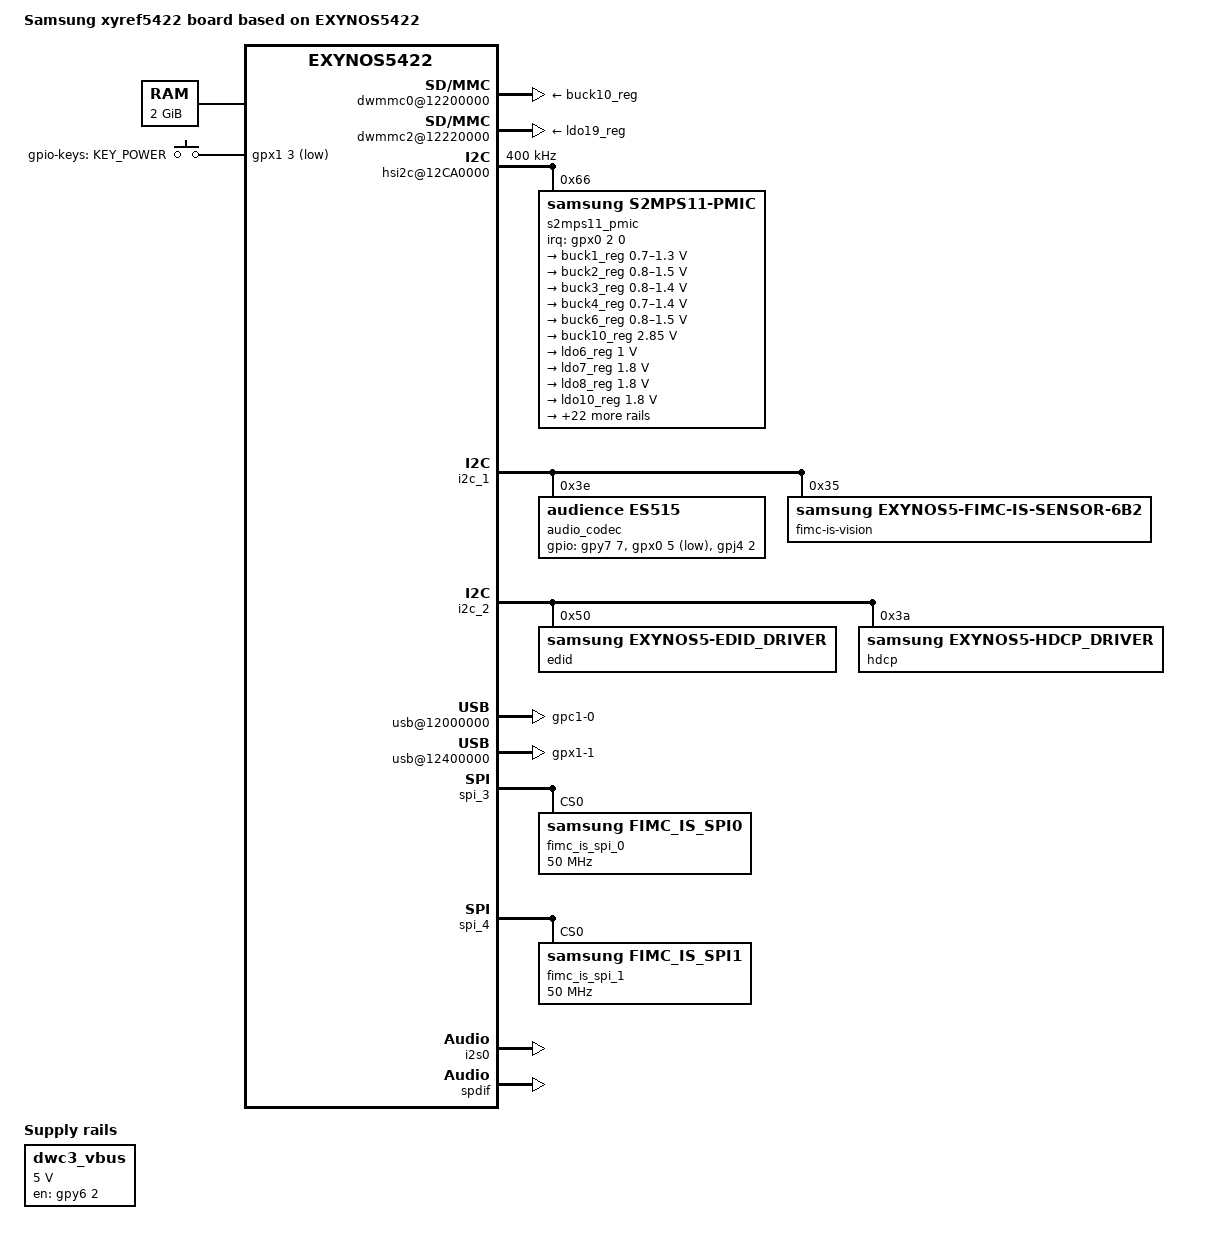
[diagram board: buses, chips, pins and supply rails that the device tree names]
/*
 * SAMSUNG xyref5422 board device tree source
 *
 * Copyright (c) 2013 Samsung Electronics Co., Ltd.
 *             http://www.samsung.com
 *
 * This program is free software; you can redistribute it and/or modify
 * it under the terms of the GNU General Public License version 2 as
 * published by the Free Software Foundation.
*/

/dts-v1/;
#include "exynos5422_evt0.dtsi"

/ {
	model = "Samsung xyref5422 board based on EXYNOS5422";
	compatible = "samsung,xyref5422", "samsung,exynos5422";

	memory {
		reg = <0x40000000 0x80000000>;
	};

	chosen {
		bootargs = "console=ttySAC2,115200 vmalloc=512M ess_setup=0x46000000";
	};

	fixed-rate-clocks {
		oscclk {
			compatible = "samsung,exynos5422-oscclk";
			clock-frequency = <24000000>;
		};
	};

	rtc {
		status = "okay";
	};

	dwmmc0@12200000 {
		status = "okay";
		num-slots = <1>;
		broken-cd;
		bypass-smu;
		fixed_volt;
		only_once_tune;
		extra_tuning;
		supports-highspeed;
		supports-hs200-1-8v-mode;
		supports-ddr200-1-8v-mode;
		enable-cache-control;
		sw_data_timeout;
		fifo-depth = <0x40>;
		card-detect-delay = <200>;
		qos_int_level = <222000>;
		samsung,dw-mshc-ciu-div = <3>;
		samsung,dw-mshc-sdr-timing = <0 4 3>;
		samsung,dw-mshc-ddr-timing = <0 2 3>;
		samsung,dw-mshc-hs200-timing = <0 2 3>;
		samsung,dw-mshc-ddr200-timing = <0 2 1>;
		vmmc-supply = <&buck10_reg>;
		vqmmc-supply = <&ldo18_reg>;
		clk_pin = "gpc0-0";
		clk_addr = "13410000.pinctrl";
		clk_val = <0x3>;
		clk_str_num = <4>;
		num-ref-clks = <8>;
		ciu_clkin = <20812500 41625000 41625000 83250000 166500000 83250000 166500000 333000000>;
		pinctrl-names = "default";
		pinctrl-0 = <&sd0_clk &sd0_cmd &sd0_rdqs &sd0_bus1 &sd0_bus4 &sd0_bus8>;

		slot@0 {
			reg = <0>;
			bus-width = <8>;
		};
	};

	dwmmc2@12220000 {
		status = "okay";
		num-slots = <1>;
		supports-highspeed;
		cd-type = <1>;
		sw_data_timeout;
		fifo-depth = <0x40>;
		card-detect-delay = <200>;
		qos_int_level = <222000>;
		samsung,dw-mshc-ciu-div = <3>;
		samsung,dw-mshc-sdr-timing = <0 4 3>;
		samsung,dw-mshc-ddr-timing = <0 2 3>;
		vmmc-supply = <&ldo19_reg>;
		vqmmc-supply = <&ldo13_reg>;
		clk_pin = "gpc2-0";
		clk_addr = "13410000.pinctrl";
		clk_val = <0x3>;
		clk_str_num = <4>;
		num-ref-clks = <8>;
		ciu_clkin = <20812500 41625000 41625000 83250000 166500000 83250000 166500000 333000000>;
		pinctrl-names = "default";
		pinctrl-0 = <&sd2_clk &sd2_cmd &sd2_cd &sd2_bus1 &sd2_bus4>;

		slot@0 {
			reg = <0>;
			bus-width = <4>;
			disable-wp;
		};

	};

	pinctrl@13400000 {
		pmic_irq: pmic-irq {
			samsung,pins = "gpx0-3";
			samsung,pin-pud = <3>;
			samsung,pin-drv = <3>;
		};
	};

	pinctrl@13410000 {
		pm_wrsti: pm-wrsti {
			samsung,pins = "gpy3-0";
			samsung,pin-con-pdn = <3>;
		};
	};

	hsi2c@12CC0000 {
		clock-frequency = <100000>;
		status = "disabled";
	};

	hsi2c@12CA0000 {
		samsung,hs-mode;
		clock-frequency = <400000>;
		status = "okay";

		s2mps11_pmic@66 {
			compatible = "samsung,s2mps11-pmic";
			reg = <0x66>;
			interrupts = <2 0 0>;
			interrupt-parent = <&gpx0>;
			pinctrl-names = "default";
			pinctrl-0 = <&pmic_irq &pm_wrsti>;
			wtsr_smpl = <1>;

			regulators {
				buck1_reg: BUCK1 {
					regulator-name = "vdd_mif";
					regulator-min-microvolt = <700000>;
					regulator-max-microvolt = <1300000>;
					regulator-always-on;
					regulator-boot-on;
					regulator-ramp-delay = <12000>;
					regulator-initial-mode = <1>;
				};

				buck2_reg: BUCK2 {
					regulator-name = "vdd_eagle";
					regulator-min-microvolt = <800000>;
					regulator-max-microvolt = <1500000>;
					regulator-always-on;
					regulator-boot-on;
					regulator-ramp-delay = <12000>;
					regulator-initial-mode = <1>;
				};

				buck3_reg: BUCK3 {
					regulator-name = "vdd_int";
					regulator-min-microvolt = <800000>;
					regulator-max-microvolt = <1400000>;
					regulator-always-on;
					regulator-boot-on;
					regulator-ramp-delay = <12000>;
					regulator-initial-mode = <1>;
				};

				buck4_reg: BUCK4 {
					regulator-name = "vdd_g3d";
					regulator-min-microvolt = <700000>;
					regulator-max-microvolt = <1400000>;
					regulator-always-on;
					regulator-boot-on;
					regulator-ramp-delay = <12000>;
					regulator-initial-mode = <1>;
				};

				buck6_reg: BUCK6 {
					regulator-name = "vdd_kfc";
					regulator-min-microvolt = <800000>;
					regulator-max-microvolt = <1500000>;
					regulator-always-on;
					regulator-boot-on;
					regulator-ramp-delay = <12000>;
					regulator-initial-mode = <1>;
				};

				buck10_reg: BUCK10 {
					regulator-name = "vdd_cam_isp_1.0v";
					regulator-min-microvolt = <2850000>;
					regulator-max-microvolt = <2850000>;
					regulator-always-on;
					regulator-boot-on;
					regulator-ramp-delay = <12000>;
					regulator-initial-mode = <1>;
				};

				ldo6_reg: LDO6 {
					regulator-name = "vdd_ldo6";
					regulator-min-microvolt = <1000000>;
					regulator-max-microvolt = <1000000>;
					regulator-always-on;
					regulator-initial-mode = <1>;
				};

				ldo7_reg: LDO7 {
					regulator-name = "vdd_ldo7";
					regulator-min-microvolt = <1800000>;
					regulator-max-microvolt = <1800000>;
					regulator-always-on;
					regulator-boot-on;
					regulator-initial-mode = <1>;
				};

				ldo8_reg: LDO8 {
					regulator-name = "vdd_ldo8";
					regulator-min-microvolt = <1800000>;
					regulator-max-microvolt = <1800000>;
					regulator-always-on;
					regulator-boot-on;
					regulator-initial-mode = <1>;
				};

				ldo10_reg: LDO10 {
					regulator-name = "vdd_ldo10";
					regulator-min-microvolt = <1800000>;
					regulator-max-microvolt = <1800000>;
					regulator-always-on;
					regulator-boot-on;
					regulator-initial-mode = <1>;
				};

				ldo13_reg: LDO13 {
					regulator-name = "vdd_ldo13";
					regulator-min-microvolt = <1800000>;
					regulator-max-microvolt = <3300000>;
					regulator-boot-on;
					regulator-ramp-delay = <12000>;
					regulator-initial-mode = <1>;
				};

				ldo15_reg: LDO15 {
					regulator-name = "vdd_ldo15";
					regulator-min-microvolt = <1800000>;
					regulator-max-microvolt = <2850000>;
					regulator-always-on;
					regulator-initial-mode = <1>;
				};

				ldo16_reg: LDO16 {
					regulator-name = "vdd_ldo16";
					regulator-min-microvolt = <2200000>;
					regulator-max-microvolt = <2200000>;
					regulator-always-on;
					regulator-initial-mode = <1>;
				};

				ldo17_reg: LDO17 {
					regulator-name = "tsp_avdd";
					regulator-min-microvolt = <3300000>;
					regulator-max-microvolt = <3300000>;
				};

				ldo18_reg: LDO18 {
					regulator-name = "vdd_ldo18";
					regulator-min-microvolt = <1800000>;
					regulator-max-microvolt = <3300000>;
					regulator-always-on;
					regulator-boot-on;
					regulator-initial-mode = <1>;
				};

				ldo19_reg: LDO19 {
					regulator-name = "vdd_ldo19";
					regulator-min-microvolt = <1800000>;
					regulator-max-microvolt = <2850000>;
					regulator-always-on;
					regulator-initial-mode = <1>;
				};

				ldo20_reg: LDO20 {
					regulator-name = "vdd_ldo20";
					regulator-min-microvolt = <1800000>;
					regulator-max-microvolt = <1800000>;
					regulator-always-on;
					regulator-initial-mode = <3>;
				};

				ldo21_reg: LDO21 {
					regulator-name = "vdd_ldo21";
					regulator-min-microvolt = <1800000>;
					regulator-max-microvolt = <1800000>;
					regulator-always-on;
					regulator-initial-mode = <3>;
				};

				ldo22_reg: LDO22 {
					regulator-name = "vdd_ldo22";
					regulator-min-microvolt = <800000>;
					regulator-max-microvolt = <1350000>;
					regulator-always-on;
					regulator-initial-mode = <3>;
				};

				ldo23_reg: LDO23 {
					regulator-name = "vdd_mifs";
					regulator-min-microvolt = <800000>;
					regulator-max-microvolt = <1100000>;
					regulator-always-on;
					regulator-initial-mode = <1>;
					regulator-ramp-delay = <12000>;
				};

				ldo24_reg: LDO24 {
					regulator-name = "vdd_ldo24";
					regulator-min-microvolt = <2800000>;
					regulator-max-microvolt = <2800000>;
					regulator-always-on;
					regulator-initial-mode = <1>;
				};

				ldo25_reg: LDO25 {
					regulator-name = "vdd_ldo25";
					regulator-min-microvolt = <1800000>;
					regulator-max-microvolt = <1800000>;
					regulator-always-on;
					regulator-initial-mode = <1>;
				};

				ldo26_reg: LDO26 {
					regulator-name = "vdd_ldo26";
					regulator-min-microvolt = <3000000>;
					regulator-max-microvolt = <3000000>;
					regulator-always-on;
					regulator-initial-mode = <1>;
				};

				ldo27_reg: LDO27 {
					regulator-name = "vdd_g3ds";
					regulator-min-microvolt = <800000>;
					regulator-max-microvolt = <1100000>;
					regulator-always-on;
					regulator-initial-mode = <1>;
					regulator-ramp-delay = <12000>;
				};

				ldo28_reg: LDO28 {
					regulator-name = "vdd_ldo28";
					regulator-min-microvolt = <2800000>;
					regulator-max-microvolt = <2800000>;
					regulator-always-on;
					regulator-initial-mode = <1>;
				};

				ldo29_reg: LDO29 {
					regulator-name = "vdd_ldo29";
					regulator-min-microvolt = <1800000>;
					regulator-max-microvolt = <1800000>;
					regulator-always-on;
					regulator-initial-mode = <1>;
				};

				ldo30_reg: LDO30 {
					regulator-name = "tsp_io";
					regulator-min-microvolt = <1800000>;
					regulator-max-microvolt = <1800000>;
				};

				ldo31_reg: LDO31 {
					regulator-name = "vdd_ldo31";
					regulator-min-microvolt = <1000000>;
					regulator-max-microvolt = <2100000>;
					regulator-always-on;
					regulator-initial-mode = <3>;
				};

				ldo32_reg: LDO32 {
					regulator-name = "vdd_ldo32";
					regulator-min-microvolt = <2800000>;
					regulator-max-microvolt = <2800000>;
					regulator-always-on;
					regulator-initial-mode = <3>;
				};

				ldo34_reg: LDO34 {
					regulator-name = "vdd_ldo34";
					regulator-min-microvolt = <3000000>;
					regulator-max-microvolt = <3000000>;
					regulator-always-on;
					regulator-initial-mode = <1>;
				};

				ldo35_reg: LDO35 {
					regulator-name = "vdd_ldo35";
					regulator-min-microvolt = <1200000>;
					regulator-max-microvolt = <1200000>;
					regulator-always-on;
					regulator-initial-mode = <1>;
				};

				ldo38_reg: LDO38 {
					regulator-name = "vdd_ldo38";
					regulator-min-microvolt = <2800000>;
					regulator-max-microvolt = <2800000>;
					regulator-always-on;
					regulator-initial-mode = <1>;
				};

			};
		};
	};

	pinctrl@13400000 {
		key_pullup: key-pullup {
			samsung,pins = "gpx1-3";
			samsung,pin-pud = <3>;
			samsung,pin-pud-pdn = <3>;
		};
	};

	gpio_keys {
		compatible = "gpio-keys";
		#address-cells = <1>;
		#size-cells = <0>;
		poll-interval = <100>;
		pinctrl-names = "default";
		pinctrl-0 = <&key_pullup>;

		button@1 {
			label = "gpio-keys: KEY_POWER";
			interrupts = <3 0 0>;
			interrupt-parent = <&gpx1>;
			linux,code = <116>;
			gpios = <&gpx1 3 0xf>;
			gpio-key,wakeup = <1>;
		};
	};

	hsi2c@12E00000 {
		clock-frequency = <400000>;
		status = "disabled";
	};

	i2c_1: i2c@12C70000 {
		samsung,i2c-max-bus-freq = <400000>;
		status = "okay";
		audio_codec: codec@3e {
			compatible = "audience,es515";
			reg = <0x3E>;
			gpios = <&gpy7 7 0	/* reset */
				 &gpx0 5 0xF	/* interrupt */
				 &gpj4 2 0>;	/* wakeup */
			pinctrl-names = "default";
			pinctrl-0 = <&codec_ctl &codec_ctl_1>;
		};
	};

	i2c_2: i2c@12C80000 {
		samsung,i2c-max-bus-freq = <400000>;
		status = "okay";

		/* hdmi edid dirver */
		edid@50 {
			compatible = "samsung,exynos5-edid_driver";
			reg = <0x50>;
		};

		/* hdmi hdcp dirver */
		hdcp@3A {
			compatible = "samsung,exynos5-hdcp_driver";
			reg = <0x3A>;
		};
	};

	pinctrl@13400000 {
		codec_ctl: codec-ctl {
			samsung,pins = "gpy7-7", "gpx0-5";
			samsung,pin-con-pdn = <3>;
		};

		b_sess0_irq: b-sess0-irq {
			samsung,pins = "gpx3-5";
			samsung,pin-function = <0xf>;
			samsung,pin-pud = <0>;
		};

		b_sess1_irq: b-sess1-irq {
			samsung,pins = "gpx3-4";
			samsung,pin-function = <0xf>;
			samsung,pin-pud = <0>;
		};

		id1_irq: id1-irq {
			samsung,pins = "gpc1-0";
			samsung,pin-function = <0xf>;
			samsung,pin-pud = <3>;
		};

		id2_irq: id2-irq {
			samsung,pins = "gpx1-1";
			samsung,pin-function = <0xf>;
			samsung,pin-pud = <0>;
		};

		chg_irq: chg-irq {
			samsung,pins = "gpx0-0";
			samsung,pin-function = <0>;
			samsung,pin-pud = <3>;
			samsung,pin-drv = <3>;
		};
	};

	pinctrl@14000000 {
		codec_ctl_1: codec-ctl {
			samsung,pins = "gpj4-2";
			samsung,pin-con-pdn = <3>;
		};
	};

	/* vision */
	i2c@12C70000 {
		status = "okay";
		samsung,i2c-sda-delay = <100>;
		samsung,i2c-max-bus-freq = <400000>;
		status = "okay";
		fimc-is-vision@20 {
			compatible = "samsung,exynos5-fimc-is-sensor-6b2";
			reg = <0x35>;
		};
	};

	dwc3_vbus: fixedregulator@0 {
		compatible = "regulator-fixed";
		regulator-name = "VUSB_BOOST_5V";
		regulator-min-microvolt = <5000000>;
		regulator-max-microvolt = <5000000>;
		gpio = <&gpy6 2 1>;
		enable-active-high;
	};

	usb@12000000 {
		dwc3-vbus-supply = <&dwc3_vbus>;
		samsung,bsess-gpio = <&gpx3 5 0xf>;
		pinctrl-names = "default";
		pinctrl-0 = <&b_sess0_irq>;
		samsung,id-gpio = <&gpc1 0  0xf>;
		pinctrl-names = "default";
		pinctrl-0 = <&id1_irq>;
		status = "okay";

		dwc3 {
			maximum-speed = "super-speed";
			dr_mode = "host";
		};
	};

	usb@12400000 {
		dwc3-vbus-supply = <&dwc3_vbus>;
		samsung,bsess-gpio = <&gpx3 4 0xf>;
		pinctrl-names = "default";
		pinctrl-0 = <&b_sess1_irq>;
		samsung,id-gpio = <&gpx1 1  0xf>;
		pinctrl-names = "default";
		pinctrl-0 = <&id2_irq>;
		status = "okay";

		dwc3 {
			maximum-speed = "super-speed";
			dr_mode = "peripheral";
		};
	};

	usb@12110000 {
		samsung,boost5v-gpio = <&gpy6 4 1>;
	};

/*disp_driver {*/
	fimd_fb: fimd_fb {
		gpios = <&gpx0 2 0xf>;
		fimd: fimd_ctrl {
			samsung,left_margin = <1>;
			samsung,right_margin = <1>;
			samsung,upper_margin = <1>;
			samsung,lower_margin = <1>;
			samsung,hsync_len = <1>;
			samsung,vsync_len = <1>;

			samsung,xres = <1920>;
			samsung,yres = <1080>;
			samsung,virtual_x = <1920>;
			samsung,virtual_y = <1080>;
			samsung,width = <114>;
			samsung,height = <71>;
			samsung,max_bpp = <32>;
			samsung,default_bpp = <24>;

			fb_driver_data {
				fb_win_variant_0 {
					has_osd_c = <1>;
					has_osd_d = <0>;
					has_osd_alpha = <0>;
					osd_size_off = <0x08>;
					palette_size = <256>;
					VALID_BPP_1248 = <1>;
					VALID_BPP_13 = <1>;
					VALID_BPP_15 = <1>;
					VALID_BPP_16 = <1>;
					VALID_BPP_18 = <1>;
					VALID_BPP_19 = <1>;
					VALID_BPP_24 = <1>;
					VALID_BPP_25 = <1>;
					VALID_BPP_32 = <1>;
				};
				fb_win_variant_1 {
					has_osd_c = <1>;
					has_osd_d = <1>;
					has_osd_alpha = <1>;
					osd_size_off = <0x0c>;
					palette_size = <256>;
					VALID_BPP_1248 = <1>;
					VALID_BPP_13 = <1>;
					VALID_BPP_15 = <1>;
					VALID_BPP_16 = <1>;
					VALID_BPP_18 = <1>;
					VALID_BPP_19 = <1>;
					VALID_BPP_24 = <1>;
					VALID_BPP_25 = <1>;
					VALID_BPP_32 = <1>;
				};
				fb_win_variant_2 {
					has_osd_c = <1>;
					has_osd_d = <1>;
					has_osd_alpha = <1>;
					osd_size_off = <0x0c>;
					palette_size = <256>;
					VALID_BPP_1248 = <1>;
					VALID_BPP_13 = <1>;
					VALID_BPP_15 = <1>;
					VALID_BPP_16 = <1>;
					VALID_BPP_18 = <1>;
					VALID_BPP_19 = <1>;
					VALID_BPP_24 = <1>;
					VALID_BPP_25 = <1>;
					VALID_BPP_32 = <1>;
				};
				fb_win_variant_3 {
					has_osd_c = <1>;
					has_osd_d = <0>;
					has_osd_alpha = <1>;
					osd_size_off = <0x0>;
					palette_size = <256>;
					VALID_BPP_1248 = <1>;
					VALID_BPP_13 = <1>;
					VALID_BPP_15 = <1>;
					VALID_BPP_16 = <1>;
					VALID_BPP_18 = <1>;
					VALID_BPP_19 = <1>;
					VALID_BPP_24 = <1>;
					VALID_BPP_25 = <1>;
					VALID_BPP_32 = <1>;
				};
				fb_win_variant_4 {
					has_osd_c = <1>;
					has_osd_d = <0>;
					has_osd_alpha = <1>;
					osd_size_off = <0x0>;
					palette_size = <256>;
					VALID_BPP_1248 = <1>;
					VALID_BPP_13 = <1>;
					VALID_BPP_15 = <1>;
					VALID_BPP_16 = <1>;
					VALID_BPP_18 = <1>;
					VALID_BPP_19 = <1>;
					VALID_BPP_24 = <1>;
					VALID_BPP_25 = <1>;
					VALID_BPP_32 = <1>;
				};
			};
		};
		mipi_dsi: mipi_dsi {
			gpios = <&gpy5 2 0x1>, <&gpy1 0 0x1>;
			interrupt-parent = <&gic>;
			interrupts = <0 82 0>;
			/* Interface definition: 0 - DSIM_COMMAND,
						 1 - DSIM_VIDEO */
			e_interface = <0>;

			/* Pixel format : 0 - DSIM_CMD_3BPP,
					  1 - DSIM_CMD_8BPP,
					  2 - DSIM_CMD_12BPP,
					  3 - DSIM_CMD_16BPP,
					  4 - DSIM_VID_16BPP_565,
					  5 - DSIM_VID_18BPP_666PACKED,
					  6 - DSIM_18BPP_666LOOSELYPACKED,
					  7 - DSIM_24BPP_888 */
			e_pixel_format = <7>;

			/* main frame fifo auto flush at VSYNC pulse */
			auto_flush = <0>;
			eot_disable = <1>;
			auto_vertical_cnt = <0>;
			hse = <0>;
			hfp = <0>;
			hbp = <0>;
			hsa = <0>;

			/* num of data lane : 0 - DSIM_DATA_LANE_1,
					      1 - DSIM_DATA_LANE_2,
					      2 - DSIM_DATA_LANE_3,
					      3 - DSIM_DATA_LANE_4 */
			e_no_data_lane = <3>;
			/* byte clock divider : 0 - DSIM_PLL_OUT_DIV8,
						1 - DSIM_EXT_CLK_DIV8,
						2 - DSIM_EXT_CLK_BYPASS */
			e_byte_clk = <0>;
			/* Burst mode : 0 - DSIM_NON_BURST_SYNC_EVENT,
					2 - DSIM_NON_BURST_SYNC_PULSE,
					1 - DSIM_BURST
					4 - DSIM_NON_VIDEO_MODE */
			e_burst_mode = <1>;
			/* PMS
			   - 1. LCD_S6E8AA0 : p - 4, m - 80, s - 2
			   - 2. LCD_S6E3FA0(COMMAND): p - 2, m - 46, s - 1
			   - 3. LCD_S6E3FA0(VIDEO): p - 4, m - 75, s - 1
			   - 4. LCD_S6E3HA0(COMMAND): p - 2, m - 46, s - 1*/
			p = <2>;
			m = <46>;
			s = <1>;
			/* D-PHY PLL stable time spec :min = 200usec ~ max 400usec */
			pll_stable_time = <500>;
			/* escape clk : 7MHz */
			esc_clk = <7000000>;
			/* stop state holding counter after bta change count 0 ~ 0xfff */
			stop_holding_cnt = <0x0fff>;
			/* bta timeout 0 ~ 0xff */
			bta_timeout = <0xff>;
			/* lp rx timeout 0 ~ 0xffff */
			rx_timeout = <0xffff>;
		};
	};

	spi_0: spi@12d20000 {
		status = "disabled";
	};

	spi_2: spi@12d40000 {
		status = "disabled";
	};

	spi_3: spi@131a0000 {
		#address-cells = <1>;
		#size-cells = <0>;

		fimc_is_spi_0@0 {
			compatible = "samsung,fimc_is_spi0";
			spi-max-frequency = <50000000>;
			reg = <0x0>;
			pinctrl-names = "default";
			pinctrl-0 = <&fimc_is_comp_int>;

			controller-data {
				samsung,spi-feedback-delay = <0>;
			};
		};
	};

	spi_4: spi@131b0000 {
		#address-cells = <1>;
		#size-cells = <0>;

		fimc_is_spi_1@0 {
			compatible = "samsung,fimc_is_spi1";
			spi-max-frequency = <50000000>;
			reg = <0x0>;

			controller-data {
				samsung,spi-feedback-delay = <0>;
			};
		};
	};

	/* CAMIF0 - MIPI-CSIS0, FIMC-Lite0 driver */
	fimc_is_sensor0: fimc_is_sensor@13C00000 {
		scenario = <0>;
		gpio_reset = <&gpe0 1 0x1>;
		id = <0>;
		mclk_ch = <0>;
		csi_ch = <0>;
		flite_ch = <0>;
		i2c_ch = <0x100>;
		i2c_addr = <0x5A5A>;
		flash_first_gpio = <2>;		/* XISPGP2,GPE0_2,CAM_GPIO[2] */
		flash_second_gpio = <3>;	/* XISPGP3,GPE0_3,CAM_GPIO[3] */
		is_bns = <1>;
		status = "okay";
	};

	/* CAMIF1 - MIPI-CSIS1, FIMC-Lite1 driver */
	fimc_is_sensor1: fimc_is_sensor@13C10000 {
		scenario = <0>;
		gpio_reset = <&gpe0 4 0x1>;
		id = <1>;
		mclk_ch = <1>;
		csi_ch = <1>;
		flite_ch = <1>;
		i2c_ch = <0x2>;
		i2c_addr = <0x20>;
		is_bns = <0>;
		status = "okay";
	};

	/* FIMC-IS driver */
	fimc_is@13000000 {
		fimc_is_dvfs {
			default_int = <600000>; /* L0 */
			default_cam = <666000>; /* L0 */
			default_mif = <825000>; /* L0 */
			default_i2c = <0>;

			front_preview_int = <460000>; /* L1-2 */
			front_preview_cam = <333000>; /* L3 */
			front_preview_mif = <413000>; /* L4 */
			front_preview_i2c = <0>;

			front_capture_int = <460000>; /* L1-2 */
			front_capture_cam = <333000>; /* L3 */
			front_capture_mif = <413000>; /* L4 */
			front_capture_i2c = <0>;

			front_camcording_int = <460000>; /* L1-2 */
			front_camcording_cam = <333000>; /* L3 */
			front_camcording_mif = <413000>; /* L4 */
			front_camcording_i2c = <0>;

			front_vt1_int = <460000>; /* L1-2 */
			front_vt1_cam = <333000>; /* L3 */
			front_vt1_mif = <413000>; /* L4 */
			front_vt1_i2c = <0>;

			front_vt2_int = <460000>; /* L1-2 */
			front_vt2_cam = <333000>; /* L3 */
			front_vt2_mif = <413000>; /* L4 */
			front_vt2_i2c = <0>;

			rear_preview_fhd_int = <480000>; /* L1-1 */
			rear_preview_fhd_cam = <444000>; /* L2 */
			rear_preview_fhd_mif = <543000>; /* L3 */
			rear_preview_fhd_i2c = <0>;

			rear_preview_whd_int = <600000>; /* L0 */
			rear_preview_whd_cam = <666000>; /* L0 */
			rear_preview_whd_mif = <825000>; /* L0 */
			rear_preview_whd_i2c = <0>;

			rear_preview_uhd_int = <600000>; /* L0 */
			rear_preview_uhd_cam = <666000>; /* L0 */
			rear_preview_uhd_mif = <825000>; /* L0 */
			rear_preview_uhd_i2c = <0>;

			rear_capture_int = <600000>; /* L0 */
			rear_capture_cam = <666000>; /* L0 */
			rear_capture_mif = <825000>; /* L0 */
			rear_capture_i2c = <0>;

			rear_camcording_fhd_int = <500000>; /* L1 */
			rear_camcording_fhd_cam = <444000>; /* L2 */
			rear_camcording_fhd_mif = <633000>; /* L2 */
			rear_camcording_fhd_i2c = <0>;

			rear_camcording_uhd_int = <600000>; /* L0 */
			rear_camcording_uhd_cam = <666000>; /* L0 */
			rear_camcording_uhd_mif = <825000>; /* L0 */
			rear_camcording_uhd_i2c = <0>;

			dual_preview_int = <600000>; /* L0 */
			dual_preview_cam = <666000>; /* L0 */
			dual_preview_mif = <728000>; /* L1 */
			dual_preview_i2c = <0>;

			dual_capture_int = <600000>; /* L0 */
			dual_capture_cam = <666000>; /* L0 */
			dual_capture_mif = <825000>; /* L0 */
			dual_capture_i2c = <0>;

			dual_camcording_int = <600000>; /* L0 */
			dual_camcording_cam = <666000>; /* L0 */
			dual_camcording_mif = <825000>; /* L0 */
			dual_camcording_i2c = <0>;

			high_speed_fps_int = <600000>; /* L0 */
			high_speed_fps_cam = <666000>; /* L0 */
			high_speed_fps_mif = <825000>; /* L0 */
			high_speed_fps_i2c = <0>;

			dis_enable_int = <600000>; /* L0 */
			dis_enable_cam = <666000>; /* L0 */
			dis_enable_mif = <825000>; /* L0 */
			dis_enable_i2c = <0>;

			max_int = <600000>; /* L0 */
			max_cam = <666000>; /* L0 */
			max_mif = <825000>; /* L0 */
			max_i2c = <0>;
		};
	};

	pinctrl@13400000 {
		/* VT_CAM_ID */
		fimc_is_vt_cam_id: fimc_is_vt_cam_id {
			samsung,pins = "gpy7-2";
			samsung,pin-function = <0>;
			samsung,pin-pud = <0>;
			samsung,pin-drv = <0>;
		};
		/* CAM_SENSOR_DET */
		fimc_is_main_cam_det: imc_is_main_cam_det {
			samsung,pins = "gpy7-3";
			samsung,pin-function = <1>;
			samsung,pin-pud = <0>;
			samsung,pin-drv = <0>;
		};
	};

	pinctrl@13410000 {
		/* MAIN_CAM_A2.8V_EN */
		fimc_is_main_cam_en: fimc_is_main_cam_en {
			samsung,pins = "gpd1-6";
			samsung,pin-function = <1>;
			samsung,pin-pud = <0>;
			samsung,pin-drv = <0>;
		};
		/* VT_CAM_1.2V_EN */
		fimc_is_vt_cam_en: fimc_is_vt_cam_en {
			samsung,pins = "gpd1-2";
			samsung,pin-function = <1>;
			samsung,pin-pud = <0>;
			samsung,pin-drv = <0>;
		};
	};

	pinctrl@14000000 {
		fimc_is_flash: fimc-is-flash {
			samsung,pins = "gpe0-3", "gpe0-2";
			samsung,pin-function = <2>;
			samsung,pin-pud = <0>;
			samsung,pin-drv = <0>;
		};
		/* COMP_SPI_INT */
		fimc_is_comp_int: fimc-is-comp-int {
			samsung,pins = "gpe1-0";
			samsung,pin-function = <3>;
			samsung,pin-pud = <0>;
			samsung,pin-drv = <0>;
		};
	};

	i2s0: i2s@03830000 {
		status = "okay";
	};

	spdif: spdif@12DB0000 {
		status = "okay";
	};

	audio_codec_dummy: dummy-codec {
		compatible = "samsung,dummy-codec";
		status = "okay";
	};

        i2s_dummy: dummy-i2s {
                compatible = "samsung,dummy-i2s";
                status = "okay";
        };

	sound {
		compatible = "samsung,xyref-es515";
		samsung,audio-cpu = <&i2s0		/* primary */
				     &i2s0>;		/* secondary */
		samsung,audio-cpu-spdif = <&spdif>;	/* spdif */
		samsung,audio-codec = <&audio_codec
				       &audio_codec
				       &audio_codec_dummy>;
		status = "okay";
	};

	pinctrl@13400000 {
		cfg_btgpio: cfg-btgpio {
			samsung,pins = "gpx2-1";
			samsung,pin-function = <0>;
			samsung,pin-pud = <0x03>;
		};
	};

	ion {
		compatible = "samsung,exynos5430-ion";

		contig-names = "common",
			       "mfc_sh",
			       "g2d_wfd",
			       "video",
			       "mfc_input",
			       "sectbl",
			       "mfc_fw",
			       "mfc_nfw",
			       "secdma";

		contig = <0 0x6650000 0x0>,
		         <2 0x400000 0x0>,
		         <10 0x800000 0x0>,
		         <11 0x6000000 0x0>,
		         <7 0x1000000 0x0>,
		         <9 0x400000 0x0>,
		         <8 0x400000 0x0>,
		         <12 0x400000 0x0>,
		         <13 0x400000 0x0>;

		ion_noncontig_heap {
			id-type = <0 0>;
		};

		exynos_contig_heap {
			id-type = <4 6>;
		};
	};
};
